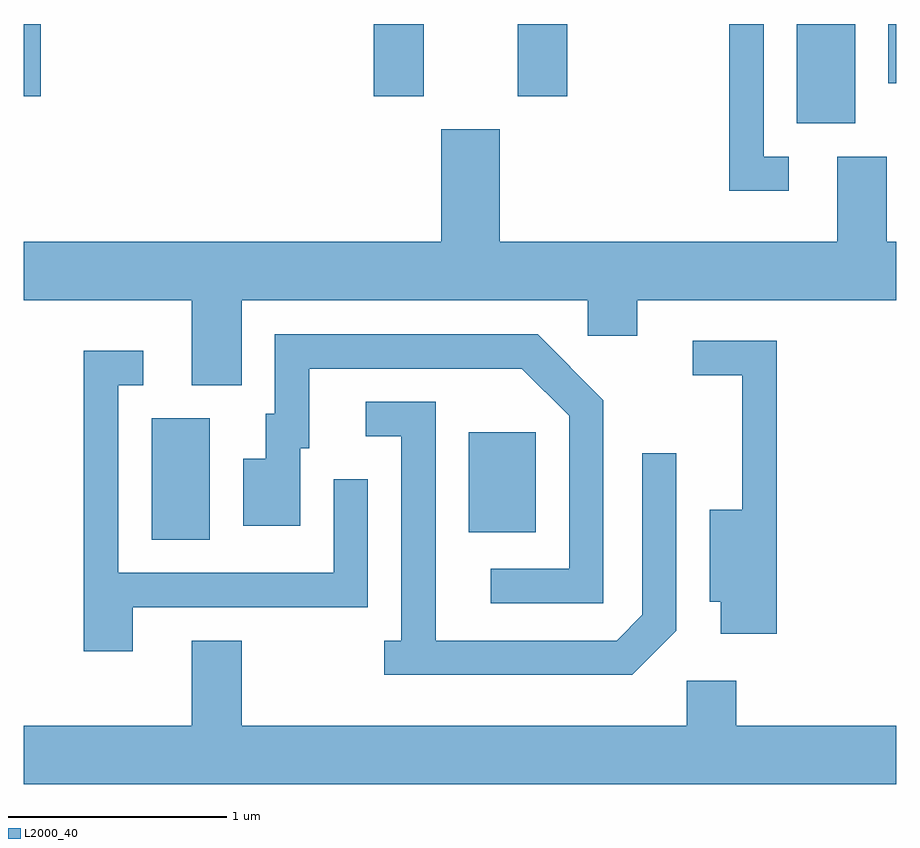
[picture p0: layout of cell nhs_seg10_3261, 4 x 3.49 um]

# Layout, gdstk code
import gdstk
lib = gdstk.Library(unit=1e-6, precision=1e-09)
def R(c, l, rs):  # rectangles x0, y0, x1, y1
    for r in rs: c.add(gdstk.rectangle(r[:2], r[2:], *l))
def P(c, l, *ps):  # polygons
    for p in ps: c.add(gdstk.Polygon(p, *l))
L2000_40 = (2000, 40)

nhs_seg10_3261 = lib.new_cell('nhs_seg10_3261')
R(nhs_seg10_3261, L2000_40, [(282.196,2106.156,282.464,2106.714), (283.651,2106.191,283.959,2106.649), (285.156,2108.066,285.424,2108.522), (281.611,2108.191,281.689,2108.522), (283.216,2108.191,283.444,2108.522), (283.876,2108.191,284.104,2108.522), (285.576,2108.251,285.611,2108.522)])
P(nhs_seg10_3261, L2000_40, [(285.118,2107.914),(285.004,2107.914),(285.004,2108.522),(284.846,2108.522),(284.846,2107.756),(285.118,2107.756)],
  [(282.609,2107.256),(284.196,2107.256),(284.196,2107.091),(284.424,2107.091),(284.424,2107.256),(285.611,2107.256),(285.611,2107.524),(285.569,2107.524),(285.569,2107.914),(285.341,2107.914),(285.341,2107.524),(283.794,2107.524),(283.794,2108.039),(283.526,2108.039),(283.526,2107.524),(281.611,2107.524),(281.611,2107.256),(282.381,2107.256),(282.381,2106.866),(282.609,2106.866)],
  [(284.269,2106.797),(283.967,2107.099),(282.761,2107.099),(282.761,2106.734),(282.721,2106.734),(282.721,2106.529),(282.616,2106.529),(282.616,2106.221),(282.879,2106.221),(282.879,2106.576),(282.919,2106.576),(282.919,2106.941),(283.894,2106.941),(284.111,2106.724),(284.111,2106.024),(283.753,2106.024),(283.753,2105.866),(284.269,2105.866)],
  [(285.064,2107.069),(284.678,2107.069),(284.678,2106.911),(284.906,2106.911),(284.906,2106.294),(284.756,2106.294),(284.756,2105.871),(284.806,2105.871),(284.806,2105.726),(285.064,2105.726)],
  [(282.109,2105.846),(283.189,2105.846),(283.189,2106.433),(283.031,2106.433),(283.031,2106.004),(282.044,2106.004),(282.044,2106.866),(282.158,2106.866),(282.158,2107.024),(281.886,2107.024),(281.886,2105.646),(282.109,2105.646)],
  [(284.604,2105.739),(284.604,2106.553),(284.446,2106.553),(284.446,2105.812),(284.329,2105.694),(283.499,2105.694),(283.499,2106.789),(283.178,2106.789),(283.178,2106.631),(283.341,2106.631),(283.341,2105.694),(283.263,2105.694),(283.263,2105.536),(284.402,2105.536)],
  [(285.611,2105.304),(284.879,2105.304),(284.879,2105.509),(284.651,2105.509),(284.651,2105.304),(282.609,2105.304),(282.609,2105.694),(282.381,2105.694),(282.381,2105.304),(281.611,2105.304),(281.611,2105.036),(285.611,2105.036)])

lib.write_gds('nhs_seg10_3261.gds')
